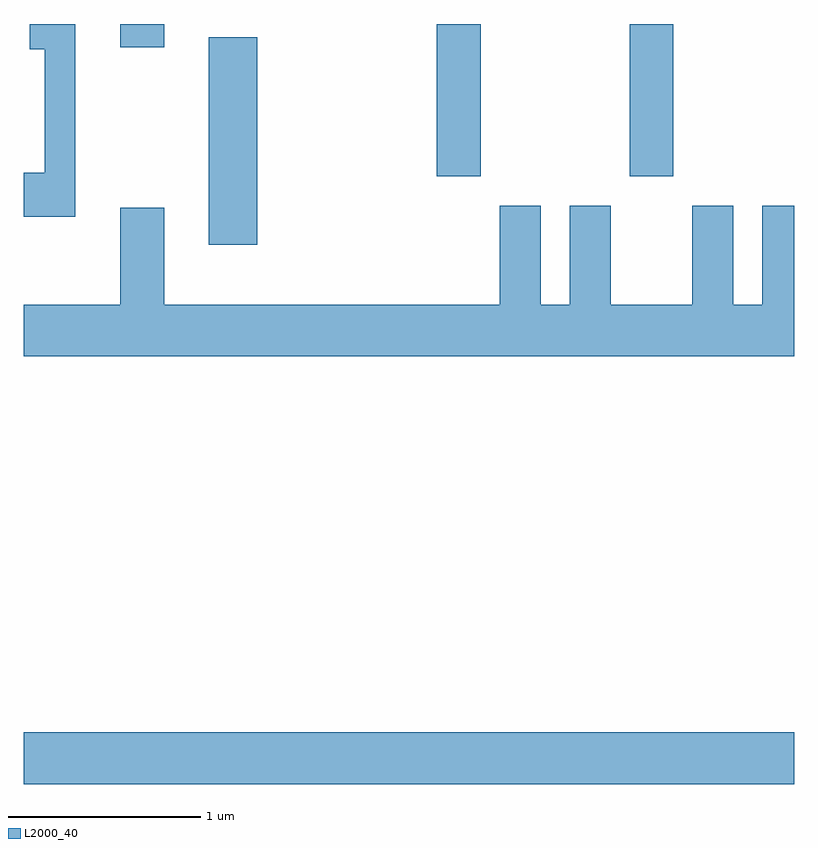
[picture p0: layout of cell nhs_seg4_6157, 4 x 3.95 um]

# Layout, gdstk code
import gdstk
lib = gdstk.Library(unit=1e-6, precision=1e-09)
def R(c, l, rs):  # rectangles x0, y0, x1, y1
    for r in rs: c.add(gdstk.rectangle(r[:2], r[2:], *l))
def P(c, l, *ps):  # polygons
    for p in ps: c.add(gdstk.Polygon(p, *l))
L2000_40 = (2000, 40)

nhs_seg4_6157 = lib.new_cell('nhs_seg4_6157')
R(nhs_seg4_6157, L2000_40, [(365.611,1328.036,369.611,1328.304), (366.571,1330.836,366.824,1331.914), (367.756,1331.191,367.984,1331.982), (368.756,1331.191,368.984,1331.982), (366.111,1331.861,366.339,1331.982)])
P(nhs_seg4_6157, L2000_40, [(365.879,1331.982),(365.643,1331.982),(365.643,1331.851),(365.721,1331.851),(365.721,1331.209),(365.611,1331.209),(365.611,1330.981),(365.879,1330.981)],
  [(369.611,1331.039),(369.446,1331.039),(369.446,1330.524),(369.294,1330.524),(369.294,1331.039),(369.081,1331.039),(369.081,1330.524),(368.659,1330.524),(368.659,1331.039),(368.446,1331.039),(368.446,1330.524),(368.294,1330.524),(368.294,1331.039),(368.081,1331.039),(368.081,1330.524),(366.339,1330.524),(366.339,1331.029),(366.111,1331.029),(366.111,1330.524),(365.611,1330.524),(365.611,1330.256),(369.611,1330.256)])

lib.write_gds('nhs_seg4_6157.gds')
